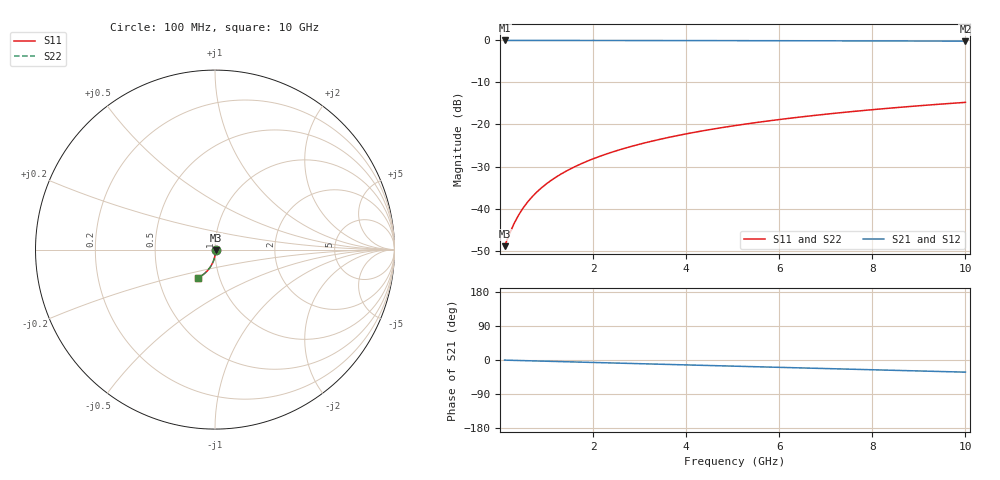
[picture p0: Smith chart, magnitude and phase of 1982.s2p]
# Hz S RI R 50.00
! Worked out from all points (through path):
!   100 points, 100 MHz to 10 GHz, reference 50 ohm
!   highest |S21| = -0.03 dB at 100 MHz (marker M1); lowest = -0.2 dB at 10 GHz (marker M2)
!   group delay of S21, straight-line fit = 8.91 ps
!   lowest |S11| = -48.9 dB at 100 MHz (marker M3), VSWR 1.01, Z = 50.3 - j0.198 ohm
!   |S11| at or under -10 dB: start of sweep to end of sweep
!   |S22| runs from -48.9 to -14.7 dB; largest |S21 - S12| = 0
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1e8  0.00299 -0.00197  0.997 -0.00564  0.997 -0.00564  0.00299 -0.00197
2e8  0.00297 -0.00394  0.9969 -0.0113  0.9969 -0.0113  0.00297 -0.00394
3e8  0.00293 -0.00591  0.9968 -0.0169  0.9968 -0.0169  0.00293 -0.00591
4e8  0.00286 -0.00787  0.9966 -0.0226  0.9966 -0.0226  0.00286 -0.00787
5e8  0.00277 -0.00984  0.9965 -0.0282  0.9965 -0.0282  0.00277 -0.00984
6e8  0.00265 -0.0118  0.9963 -0.0338  0.9963 -0.0338  0.00265 -0.0118
7e8  0.00251 -0.0138  0.996 -0.0395  0.996 -0.0395  0.00251 -0.0138
9e8  0.00217 -0.0177  0.9954 -0.0507  0.9954 -0.0507  0.00217 -0.0177
1e9  0.00196 -0.0196  0.9951 -0.0563  0.9951 -0.0563  0.00196 -0.0196
1.2e9  0.00148 -0.0236  0.9943 -0.0676  0.9943 -0.0676  0.00148 -0.0236
1.5e9  0.00059 -0.0294  0.9928 -0.0844  0.9928 -0.0844  0.00059 -0.0294
1.8e9  -0.000495 -0.0352  0.991 -0.1012  0.991 -0.1012  -0.000495 -0.0352
2.1e9  -0.00178 -0.0409  0.9889 -0.118  0.9889 -0.118  -0.00178 -0.0409
2.5e9  -0.00379 -0.0485  0.9856 -0.1402  0.9856 -0.1402  -0.00379 -0.0485
2.9e9  -0.00613 -0.056  0.9818 -0.1623  0.9818 -0.1623  -0.00613 -0.056
3.4e9  -0.00954 -0.0652  0.9762 -0.1898  0.9762 -0.1898  -0.00954 -0.0652
4.2e9  -0.016 -0.0795  0.9655 -0.2333  0.9655 -0.2333  -0.016 -0.0795
5.1e9  -0.0248 -0.0947  0.9509 -0.2813  0.9509 -0.2813  -0.0248 -0.0947
5.9e9  -0.0338 -0.1074  0.9358 -0.3231  0.9358 -0.3231  -0.0338 -0.1074
6.7e9  -0.0439 -0.1193  0.9188 -0.3639  0.9188 -0.3639  -0.0439 -0.1193
8.4e9  -0.0684 -0.141  0.8764 -0.4468  0.8764 -0.4468  -0.0684 -0.141
1e10  -0.0946 -0.1569  0.8297 -0.5197  0.8297 -0.5197  -0.0946 -0.1569
